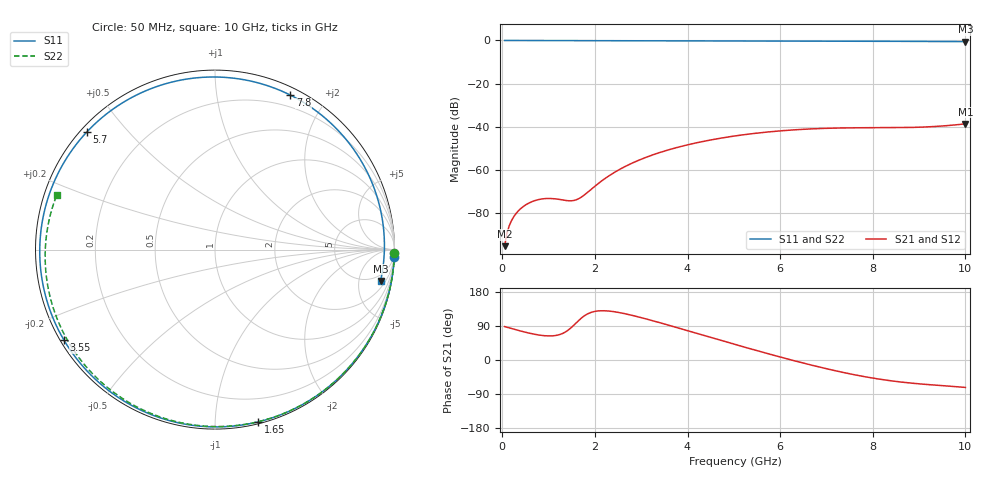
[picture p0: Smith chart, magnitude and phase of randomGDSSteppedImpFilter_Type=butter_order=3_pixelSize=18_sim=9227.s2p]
! freq	dB(S11)	phase(S11)	dB(S12)	phase(S12)
!  dB(S21)	phase(S21)	dB(S22)	phase(S22)
!S-par simulation data
#  GHz  S  DB  R 50
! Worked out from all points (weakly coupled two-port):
!   200 points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, 50 MHz to 10 GHz, reference 50 ohm
!   highest |S21| = -38.65 dB at 10 GHz (marker M1); lowest = -95.4 dB at 50 MHz (marker M2)
!   lowest |S11| = -0.5 dB at 10 GHz (marker M3), VSWR 31.62, Z = 162 - j478 ohm
!   |S11| at or under -10 dB: nowhere
!   |S22| runs from -0.6 to 0.0 dB; largest |S21 - S12| = 0
!   S11 on the Smith chart (normalised r, x): 50 MHz: 0, -47; 1.65 GHz: 0.01, -1.28; 3.55 GHz: 0.01, -0.28; 5.7 GHz: 0.02, +0.39; 7.8 GHz: 0.08, +1.60; 10 GHz: 3, -10
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0.05  -0.00 -2.4  -95.36 88.3  -95.36 88.3  -0.00 -1.2
0.3  -0.02 -14.4  -80.15 79.7  -80.15 79.7  -0.01 -6.9
0.55  -0.03 -26.3  -75.65 71.8  -75.65 71.8  -0.02 -12.6
0.8  -0.05 -38.0  -73.69 65.7  -73.69 65.7  -0.02 -18.3
1.25  -0.07 -58.5  -73.75 67.6  -73.75 67.6  -0.04 -28.5
1.5  -0.08 -69.5  -74.31 86.7  -74.31 86.7  -0.04 -34.1
1.65  -0.09 -76.0  -73.35 104.4  -73.35 104.4  -0.05 -37.4
1.75  -0.10 -80.2  -71.97 114.7  -71.97 114.7  -0.05 -39.6
2.1  -0.11 -94.7  -65.87 129.8  -65.87 129.8  -0.06 -47.3
2.5  -0.13 -110.5  -60.18 125.7  -60.18 125.7  -0.07 -55.9
3.4  -0.16 -143.8  -51.95 98.5  -51.95 98.5  -0.10 -74.6
3.55  -0.17 -149.1  -50.96 93.3  -50.96 93.3  -0.10 -77.7
4.3  -0.20 -175.0  -46.97 66.7  -46.97 66.7  -0.13 -92.5
5.05  -0.24 159.6  -44.18 40.2  -44.18 40.2  -0.16 -106.8
5.7  -0.27 137.6  -42.50 17.9  -42.50 17.9  -0.20 -118.9
6.2  -0.30 120.4  -41.59 1.4  -41.59 1.4  -0.23 -128.0
6.7  -0.32 103.0  -40.97 -14.2  -40.97 -14.2  -0.26 -137.1
7.25  -0.35 83.5  -40.59 -29.9  -40.59 -29.9  -0.31 -147.0
7.8  -0.37 64.0  -40.47 -43.5  -40.47 -43.5  -0.36 -157.0
8.35  -0.40 44.5  -40.44 -54.2  -40.44 -54.2  -0.41 -167.1
9.15  -0.45 16.9  -40.10 -64.5  -40.10 -64.5  -0.50 177.8
10  -0.55 -10.7  -38.65 -72.4  -38.65 -72.4  -0.61 160.8
